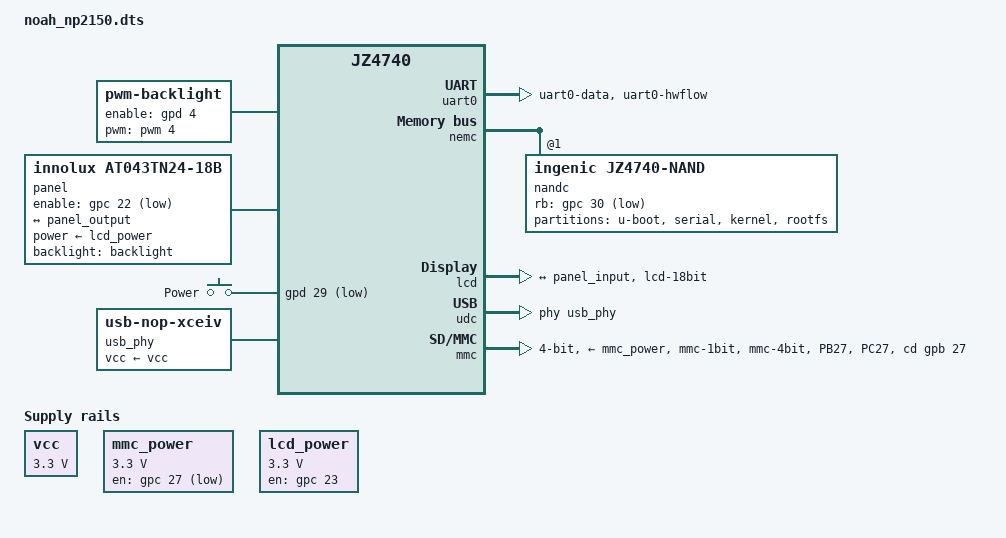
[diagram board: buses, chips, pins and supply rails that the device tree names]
// SPDX-License-Identifier: GPL-2.0
/dts-v1/;

#include "jz4740.dtsi"

#include <dt-bindings/gpio/gpio.h>
#include <dt-bindings/iio/adc/ingenic,adc.h>
#include <dt-bindings/clock/ingenic,tcu.h>
#include <dt-bindings/input/input.h>

/ {
	compatible = "noah,np2150", "ingenic,jz4740";

	chosen {
		stdout-path = &uart0;
	};

	vcc: regulator@0 {
		compatible = "regulator-fixed";
		regulator-name = "vcc";

		regulator-min-microvolt = <3300000>;
		regulator-max-microvolt = <3300000>;
		regulator-always-on;
	};

	mmc_power: regulator@1 {
		compatible = "regulator-fixed";
		regulator-name = "mmc_vcc";
		gpio = <&gpc 27 0>;

		regulator-min-microvolt = <3300000>;
		regulator-max-microvolt = <3300000>;
	};

	lcd_power: regulator@2 {
		compatible = "regulator-fixed";
		regulator-name = "lcd_vcc";
		gpio = <&gpc 23 0>;
		enable-active-high;

		regulator-min-microvolt = <3300000>;
		regulator-max-microvolt = <3300000>;
	};

	backlight: backlight {
		compatible = "pwm-backlight";
		pwms = <&pwm 4 40000 0>;
		enable-gpios = <&gpd 4 GPIO_ACTIVE_HIGH>;
		pinctrl-names = "default";
		pinctrl-0 = <&pins_pwm4>;

		brightness-levels = <0 16 32 48 64 80 96 112 128
				     144 160 176 192 208 224 240 255>;
		default-brightness-level = <12>;
	};

	panel: panel {
		compatible = "innolux,at043tn24-18b";
		backlight = <&backlight>;
		power-supply = <&lcd_power>;
		enable-gpios = <&gpc 22 GPIO_ACTIVE_LOW>;

		port {
			panel_input: endpoint {
				remote-endpoint = <&panel_output>;
			};
		};
	};

	/*amp_supply: regulator@2 {
		compatible = "regulator-fixed";
		regulator-name = "amp_supply";
		gpio = <&gpd 4 0>;
		enable-active-high;

		regulator-min-microvolt = <3300000>;
		regulator-max-microvolt = <3300000>;
	};

	amp: analog-amplifier {
		compatible = "simple-audio-amplifier";
		enable-gpios = <&gpb 29 GPIO_ACTIVE_HIGH>;
		VCC-supply = <&amp_supply>;
	};

	sound {
		compatible = "simple-audio-card";

		simple-audio-card,name = "QI LB60";
		simple-audio-card,format = "i2s";

		simple-audio-card,widgets =
			"Speaker", "Speaker",
			"Microphone", "Mic";
		simple-audio-card,routing =
			"MIC", "Mic",
			"Speaker", "OUTL",
			"Speaker", "OUTR",
			"INL", "LOUT",
			"INL", "ROUT";

		simple-audio-card,aux-devs = <&amp>;

		simple-audio-card,bitclock-master = <&dai_codec>;
		simple-audio-card,frame-master = <&dai_codec>;

		dai_cpu: simple-audio-card,cpu {
			sound-dai = <&aic>;
		};

		dai_codec: simple-audio-card,codec {
			sound-dai = <&codec>;
		};
	};*/

	keys {
		compatible = "gpio-keys";

		key {
			label = "Power";
			wakeup-source;
			linux,code = <KEY_POWER>;
			gpios = <&gpd 29 GPIO_ACTIVE_LOW>;
		};
	};

	/*spi {
		compatible = "spi-gpio";
		#address-cells = <1>;
		#size-cells = <0>;

		sck-gpios = <&gpc 23 GPIO_ACTIVE_HIGH>;
		mosi-gpios = <&gpc 22 GPIO_ACTIVE_HIGH>;
		cs-gpios = <&gpc 21 GPIO_ACTIVE_LOW>;
		num-chipselects = <1>;
	};*/

	/*usb_charger: charger {
		compatible = "gpio-charger";
		charger-type = "usb-sdp";
		gpios = <&gpd 28 GPIO_ACTIVE_LOW>;
		status-gpios = <&gpc 27 GPIO_ACTIVE_LOW>;
	};

	simple_battery: battery {
		compatible = "simple-battery";
		voltage-min-design-microvolt = <3600000>;
		voltage-max-design-microvolt = <4200000>;
	};

	pmu {
		compatible = "ingenic,jz4740-battery";
		io-channels = <&adc INGENIC_ADC_BATTERY>;
		io-channel-names = "battery";
		power-supplies = <&usb_charger>;
		monitored-battery = <&simple_battery>;
	};

	hwmon {
		compatible = "iio-hwmon";
		io-channels = <&adc INGENIC_ADC_AUX>;
	};*/

	usb_phy: usb-phy {
		compatible = "usb-nop-xceiv";
		#phy-cells = <0>;

		vcc-supply = <&vcc>;
	};
};

&ext {
	clock-frequency = <12000000>;
};

&rtc_dev {
	system-power-controller;
};

&uart0 {
	pinctrl-names = "default";
	pinctrl-0 = <&pins_uart0>;
};

&uart1 {
	status = "disabled";
};

&nemc {
	nandc: nand-controller@1 {
		compatible = "ingenic,jz4740-nand";
		reg = <1 0 0x4000000>;

		#address-cells = <1>;
		#size-cells = <0>;

		ingenic,bch-controller = <&ecc>;

		pinctrl-names = "default";
		pinctrl-0 = <&pins_nemc>;

		rb-gpios = <&gpc 30 GPIO_ACTIVE_LOW>;

		nand@1 {
			reg = <1>;

			nand-ecc-step-size = <512>;
			nand-ecc-strength = <4>;
			nand-ecc-mode = "hw";
			nand-is-boot-medium;
			nand-on-flash-bbt;

			partitions {
				compatible = "fixed-partitions";
				#address-cells = <1>;
				#size-cells = <1>;

				partition@0 {
					label = "u-boot";
					reg = <0x0 0x300000>;
				};

				partition@200000 {
					label = "serial";
					reg = <0x300000 0x200000>;
				};

				partition@400000 {
					label = "kernel";
					reg = <0x500000 0x300000>;
				};

				partition@800000 {
					label = "rootfs";
					reg = <0x800000 0x0>;
				};
			};
		};
	};
};

&lcd {
	pinctrl-names = "default";
	pinctrl-0 = <&pins_lcd>;

	port {
		panel_output: endpoint {
			remote-endpoint = <&panel_input>;
		};
	};
};

&udc {
	phys = <&usb_phy>;
};

&pinctrl {
	pins_lcd: lcd {
		function = "lcd";
		groups = "lcd-18bit";
	};

	pins_pwm4: pwm4 {
		function = "pwm4";
		groups = "pwm4";
	};

	pins_nemc: nemc {
		function = "nand";
		groups = "nand-cs1";
	};

	pins_uart0: uart0 {
		function = "uart0";
		groups = "uart0-data", "uart0-hwflow";
		bias-disable;
	};

	pins_mmc: mmc {
		mmc {
			function = "mmc";
			groups = "mmc-1bit", "mmc-4bit";
			bias-disable;
		};

		mmc-gpios {
			pins = "PB27", "PC27";
			bias-disable;
		};
	};
};

&mmc {
	bus-width = <4>;
	max-frequency = <20000000>;
	cd-gpios = <&gpb 27 GPIO_ACTIVE_HIGH>;
	vmmc-supply = <&mmc_power>;

	pinctrl-names = "default";
	pinctrl-0 = <&pins_mmc>;
};

&tcu {
	/* 750 kHz for the system timer and clocksource */
	assigned-clocks = <&tcu TCU_CLK_TIMER0>, <&tcu TCU_CLK_TIMER1>;
	assigned-clock-rates = <750000>, <750000>;
};
